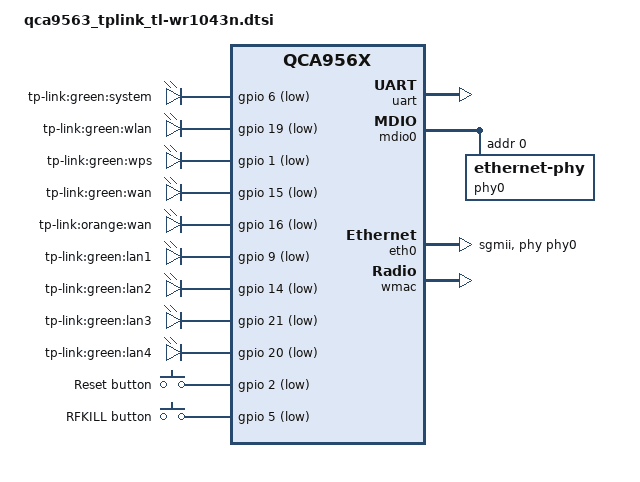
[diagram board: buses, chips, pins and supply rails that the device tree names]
// SPDX-License-Identifier: GPL-2.0-or-later OR MIT

#include <dt-bindings/gpio/gpio.h>
#include <dt-bindings/input/input.h>

#include "qca956x.dtsi"

/ {
	aliases {
		led-boot = &led_system;
		led-failsafe = &led_system;
		led-running = &led_system;
		led-upgrade = &led_system;
		label-mac-device = &wmac;
	};

	leds: leds {
		compatible = "gpio-leds";

		led_system: system {
			label = "tp-link:green:system";
			gpios = <&gpio 6 GPIO_ACTIVE_LOW>;
			linux,default-trigger = "heartbeat";
		};

		wifi_green {
			label = "tp-link:green:wlan";
			gpios = <&gpio 19 GPIO_ACTIVE_LOW>;
			linux,default-trigger = "phy0tpt";
		};

		wifi_wps {
			label = "tp-link:green:wps";
			gpios = <&gpio 1 GPIO_ACTIVE_LOW>;
		};

		wan {
			label = "tp-link:green:wan";
			gpios = <&gpio 15 GPIO_ACTIVE_LOW>;
		};

		wan_fail {
			label = "tp-link:orange:wan";
			gpios = <&gpio 16 GPIO_ACTIVE_LOW>;
		};

		lan1 {
			label = "tp-link:green:lan1";
			gpios = <&gpio 9 GPIO_ACTIVE_LOW>;
		};

		lan2 {
			label = "tp-link:green:lan2";
			gpios = <&gpio 14 GPIO_ACTIVE_LOW>;
		};

		lan3 {
			label = "tp-link:green:lan3";
			gpios = <&gpio 21 GPIO_ACTIVE_LOW>;
		};

		lan4 {
			label = "tp-link:green:lan4";
			gpios = <&gpio 20 GPIO_ACTIVE_LOW>;
		};
	};

	keys {
		compatible = "gpio-keys";

		reset {
			label = "Reset button";
			linux,code = <KEY_RESTART>;
			gpios = <&gpio 2 GPIO_ACTIVE_LOW>;
			debounce-interval = <60>;
		};

		wifi {
			label = "RFKILL button";
			linux,code = <KEY_RFKILL>;
			gpios = <&gpio 5 GPIO_ACTIVE_LOW>;
			debounce-interval = <60>;
		};
	};
};

&uart {
	status = "okay";
};

&gpio {
	status = "okay";
};

&mdio0 {
	status = "okay";

	phy-mask = <0>;
	phy0: ethernet-phy@0 {
		reg = <0>;
		phy-mode = "sgmii";
		qca,mib-poll-interval = <500>;

		qca,ar8327-initvals = <
			0x04 0x00080080 /* PORT0 PAD MODE CTRL */
			0x7c 0x0000007e /* PORT0_STATUS */
		>;
	};
};

&eth0 {
	status = "okay";

	mtd-mac-address = <&info 0x8>;
	phy-mode = "sgmii";
	phy-handle = <&phy0>;
};

&wmac {
	status = "okay";

	mtd-cal-data = <&art 0x1000>;
	mtd-mac-address = <&info 0x8>;
};
